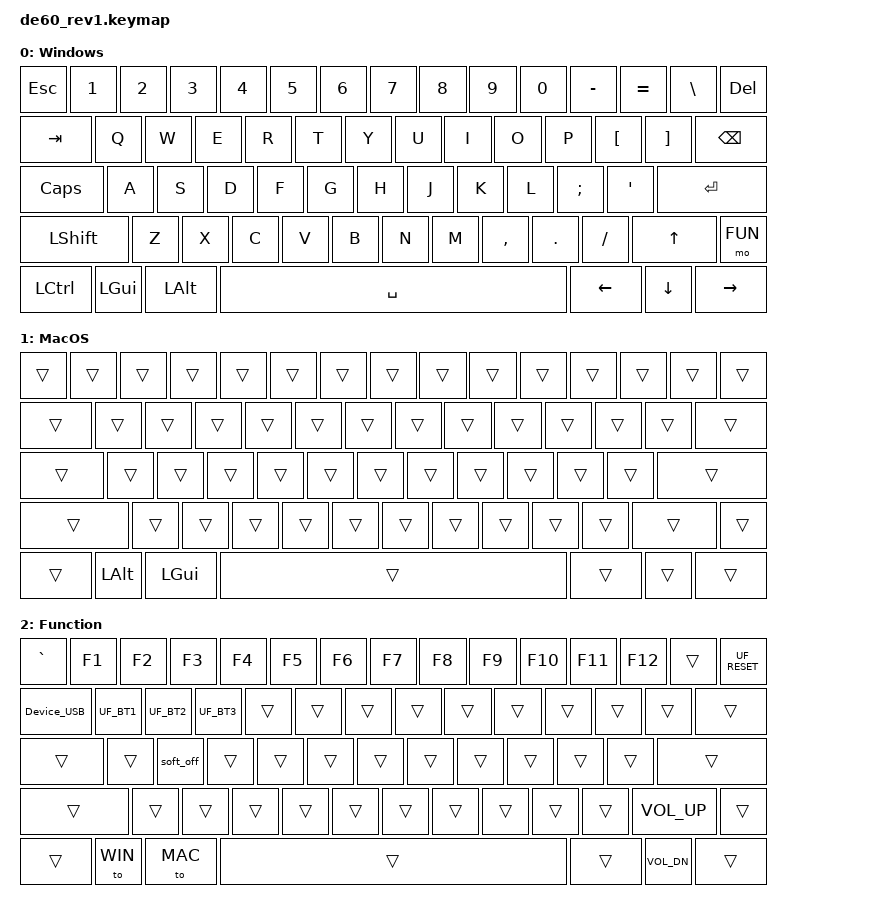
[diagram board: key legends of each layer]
#include "common.keymap"

#define WIN 0
#define MAC 1
#define FUN 2

#define UF_RESET bootloader_reset 0 0
#define UF_BT1 device_bt1 0 0
#define UF_BT2 device_bt2 0 1
#define UF_BT3 device_bt3 0 2

//
// ---------- DE60 PROTO RED key switch positions ----------
//
// -------------------------------------------------------------------------------------------
// |  0  |  1  |  2  |  3  |  4  |  5  |  6  |  7  |  8  |  9  | 10  | 11  | 12  | 13  | 14  | 
// -------------------------------------------------------------------------------------------
// |   15   | 16  | 17  | 18  | 19  | 20  | 21  |  22 |  23 |  24 |  25 |  26 |  27 |   28   | 
// -------------------------------------------------------------------------------------------
// |    29    | 30  | 31  | 32  | 33  | 34  | 35  |  36 |  37 |  38 |  39 |  40 |     41     |  
// -------------------------------------------------------------------------------------------
// |     42     |  43 | 44  | 45  | 46  | 47  |  48 |  49 |  50 |  51 |  52 |    53    |  54 |
// -------------------------------------------------------------------------------------------
// |   55   |  56  |   57   |                   58                  |   59   |  60  |   61   |  
// -------------------------------------------------------------------------------------------
//

/ {
    keymap {
        compatible = "zmk,keymap";

        default_layer {
            label = "Windows";
            bindings = <
&kp ESC   &kp N1   &kp N2  &kp N3  &kp N4  &kp N5  &kp N6  &kp N7  &kp N8  &kp N9    &kp N0   &kp MINUS &kp EQUAL &kp BSLH  &kp DEL 
&kp TAB   &kp Q    &kp W   &kp E   &kp R   &kp T   &kp Y   &kp U   &kp I   &kp O     &kp P    &kp LBKT  &kp RBKT  &kp BSPC  
&kp CLCK  &kp A    &kp S   &kp D   &kp F   &kp G   &kp H   &kp J   &kp K   &kp L     &kp SEMI &kp SQT             &kp ENTER 
&kp LSHFT          &kp Z   &kp X   &kp C   &kp V   &kp B   &kp N   &kp M   &kp COMMA &kp DOT  &kp FSLH  &kp UP    &mo FUN
&kp LCTRL &kp LGUI &kp LALT                        &kp SPACE                                  &kp LEFT  &kp DOWN  &kp RIGHT
            >;
        };

        layer_1 {
            label = "MacOS";
            bindings = < 
&trans  &trans   &trans  &trans &trans  &trans  &trans  &trans  &trans  &trans  &trans  &trans  &trans  &trans  &trans
&trans  &trans   &trans  &trans &trans  &trans  &trans  &trans  &trans  &trans  &trans  &trans  &trans  &trans
&trans  &trans   &trans  &trans &trans  &trans  &trans  &trans  &trans  &trans  &trans  &trans          &trans
&trans           &trans  &trans &trans  &trans  &trans  &trans  &trans  &trans  &trans  &trans  &trans  &trans
&trans  &kp LALT &kp LGUI                       &trans                                  &trans  &trans  &trans
            >;
        };

        layer_2 {
            label = "Function";
            bindings = <
&kp GRAVE  &kp F1  &kp F2  &kp F3  &kp F4  &kp F5  &kp F6  &kp F7  &kp F8  &kp F9  &kp F10 &kp F11 &kp F12 &trans &UF_RESET
&Device_USB &UF_BT1  &UF_BT2  &UF_BT3 &trans  &trans  &trans  &trans  &trans  &trans  &trans  &trans  &trans  &trans
&trans   &trans  &soft_off  &trans  &trans  &trans  &trans  &trans  &trans  &trans  &trans  &trans          &trans       
&trans             &trans  &trans  &trans  &trans  &trans  &trans  &trans  &trans  &trans  &trans  &kp C_VOL_UP &trans 
&trans     &to WIN &to MAC                         &trans                               &trans  &kp C_VOL_DN &trans  
            >;
        };
        
        layer_3 { status = "reserved"; };
    };
};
